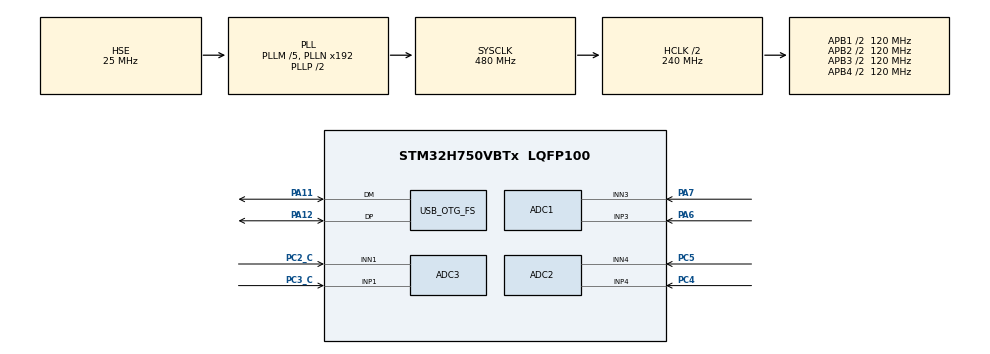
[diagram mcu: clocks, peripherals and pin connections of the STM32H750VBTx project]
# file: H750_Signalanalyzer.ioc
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ADC1.Channel-0\#ChannelRegularConversion=ADC_CHANNEL_3
ADC1.ClockPrescaler=ADC_CLOCK_ASYNC_DIV2
ADC1.NbrOfConversionFlag=1
ADC1.OffsetNumber-0\#ChannelRegularConversion=ADC_OFFSET_NONE
ADC1.OffsetSignedSaturation-0\#ChannelRegularConversion=DISABLE
ADC1.Rank-0\#ChannelRegularConversion=1
ADC1.SamplingTime-0\#ChannelRegularConversion=ADC_SAMPLETIME_1CYCLE_5
ADC1.SingleDiff-0\#ChannelRegularConversion=ADC_DIFFERENTIAL_ENDED
ADC1.master=1
ADC2.Channel-2\#ChannelRegularConversion=ADC_CHANNEL_4
ADC2.ClockPrescaler=ADC_CLOCK_ASYNC_DIV2
ADC2.NbrOfConversionFlag=1
ADC2.OffsetNumber-2\#ChannelRegularConversion=ADC_OFFSET_NONE
ADC2.OffsetSignedSaturation-2\#ChannelRegularConversion=DISABLE
ADC2.Rank-2\#ChannelRegularConversion=1
ADC2.SamplingTime-2\#ChannelRegularConversion=ADC_SAMPLETIME_1CYCLE_5
ADC2.SingleDiff-2\#ChannelRegularConversion=ADC_DIFFERENTIAL_ENDED
ADC3.Channel-0\#ChannelRegularConversion=ADC_CHANNEL_1
ADC3.ClockPrescaler=ADC_CLOCK_ASYNC_DIV2
ADC3.NbrOfConversionFlag=1
ADC3.OffsetNumber-0\#ChannelRegularConversion=ADC_OFFSET_NONE
ADC3.OffsetSignedSaturation-0\#ChannelRegularConversion=DISABLE
ADC3.Rank-0\#ChannelRegularConversion=1
ADC3.SamplingTime-0\#ChannelRegularConversion=ADC_SAMPLETIME_1CYCLE_5
ADC3.SingleDiff-0\#ChannelRegularConversion=ADC_DIFFERENTIAL_ENDED
Mcu.Family=STM32H7
Mcu.Name=STM32H750VBTx
Mcu.Package=LQFP100
NVIC.OTG_FS_IRQn=true\:0\:0\:false\:false\:true\:false\:true\:true
NVIC.PriorityGroup=NVIC_PRIORITYGROUP_4
PA11.Mode=Device_Only
PA11.Signal=USB_OTG_FS_DM
PA12.Mode=Device_Only
PA12.Signal=USB_OTG_FS_DP
PA6.Signal=ADCx_INP3
PA7.Signal=ADCx_INN3
PC14-OSC32_IN\ (OSC32_IN).Mode=LSE-External-Oscillator
PC14-OSC32_IN\ (OSC32_IN).Signal=RCC_OSC32_IN
PC15-OSC32_OUT\ (OSC32_OUT).Mode=LSE-External-Oscillator
PC15-OSC32_OUT\ (OSC32_OUT).Signal=RCC_OSC32_OUT
PC2_C.Mode=IN1-Differential
PC2_C.Signal=ADC3_INN1
PC3_C.Mode=IN1-Differential
PC3_C.Signal=ADC3_INP1
PC4.Signal=ADCx_INP4
PC5.Signal=ADCx_INN4
PH0-OSC_IN\ (PH0).Mode=HSE-External-Oscillator
PH0-OSC_IN\ (PH0).Signal=RCC_OSC_IN
PH1-OSC_OUT\ (PH1).Mode=HSE-External-Oscillator
PH1-OSC_OUT\ (PH1).Signal=RCC_OSC_OUT
ProjectManager.HeapSize=0x200
ProjectManager.StackSize=0x400
ProjectManager.TargetToolchain=STM32CubeIDE
RCC.ADCFreq_Value=75000000
RCC.APB1Freq_Value=120000000
RCC.APB2Freq_Value=120000000
RCC.APB3Freq_Value=120000000
RCC.APB4Freq_Value=120000000
RCC.CortexFreq_Value=480000000
RCC.D1PPRE=RCC_APB3_DIV2
RCC.D2PPRE1=RCC_APB1_DIV2
RCC.D2PPRE2=RCC_APB2_DIV2
RCC.D3PPRE=RCC_APB4_DIV2
RCC.DIVM1=5
RCC.DIVM2=2
RCC.DIVN1=192
RCC.DIVN2=12
RCC.DIVQ1=15
RCC.HCLKFreq_Value=240000000
RCC.HPRE=RCC_HCLK_DIV2
RCC.PLL2FRACN=0
RCC.PLLFRACN=0
RCC.PLLSourceVirtual=RCC_PLLSOURCE_HSE
RCC.SYSCLKFreq_VALUE=480000000
RCC.SYSCLKSource=RCC_SYSCLKSOURCE_PLLCLK
RCC.USBFreq_Value=64000000
SH.ADCx_INN3.0=ADC1_INN3,IN3-Differential
SH.ADCx_INN4.0=ADC2_INN4,IN4-Differential
SH.ADCx_INP3.0=ADC1_INP3,IN3-Differential
SH.ADCx_INP4.0=ADC2_INP4,IN4-Differential
USB_DEVICE.CLASS_NAME_FS=CDC
USB_DEVICE.VirtualMode-CDC_FS=Cdc
USB_DEVICE.VirtualModeFS=Cdc_FS
USB_OTG_FS.VirtualMode=Device_Only
VP_USB_DEVICE_VS_USB_DEVICE_CDC_FS.Mode=CDC_FS
board=custom

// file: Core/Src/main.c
/* USER CODE BEGIN Header */
/**
  ******************************************************************************
  * @file           : main.c
  * @brief          : Main program body
  ******************************************************************************
  * @attention
  *
  * Copyright (c) 2023 STMicroelectronics.
  * All rights reserved.
  *
  * This software is licensed under terms that can be found in the LICENSE file
  * in the root directory of this software component.
  * If no LICENSE file comes with this software, it is provided AS-IS.
  *
  ******************************************************************************
  */
/* USER CODE END Header */
#include "main.h"
#include "usb_device.h"

/* USER CODE BEGIN Includes */

#include "adc.h"
#include "signalanalyzer.h"
#include "cubemonitor.h"
#include "filters.h"

/* USER CODE END Includes */

ADC_HandleTypeDef hadc1;
ADC_HandleTypeDef hadc2;
ADC_HandleTypeDef hadc3;

void SystemClock_Config(void);
void PeriphCommonClock_Config(void);
static void MX_GPIO_Init(void);
static void MX_ADC1_Init(void);
static void MX_ADC2_Init(void);
static void MX_ADC3_Init(void);

int main(void)
{
  /* USER CODE BEGIN 1 */

#if DEBUGTESTS==0
#if ADCDEBUG==0
	adc_Init();
#endif

#if SIGANDEBUG==0
	sigAn_Init();
#endif

#if CUBEMDEBUG==0
	CubeM_Init(50);
#endif
#endif

  /* USER CODE END 1 */

  /* MCU Configuration--------------------------------------------------------*/

  /* Reset of all peripherals, Initializes the Flash interface and the Systick. */
  HAL_Init();

  /* Configure the system clock */
  SystemClock_Config();

/* Configure the peripherals common clocks */
  PeriphCommonClock_Config();

  /* Initialize all configured peripherals */
  MX_GPIO_Init();
  MX_ADC1_Init();
  MX_ADC2_Init();
  MX_ADC3_Init();
  MX_USB_DEVICE_Init();
  /* USER CODE BEGIN 2 */

#if DEBUGTESTS==1
#if ADCDEBUG==1
  adc_runDebugTests();
#endif

#if SIGANDEBUG==1
	sigAn_Debug();
#endif

#if CUBEMDEBUG==1
  CubeM_runDebugTests();
#endif

#if FILTERDEBUGTESTS==1
  testFilters(100);
#endif
#endif

  /* USER CODE END 2 */

  /* Infinite loop */
  while (1)
  {

  }
}

void SystemClock_Config(void)
{
  RCC_OscInitTypeDef RCC_OscInitStruct = {0};
  RCC_ClkInitTypeDef RCC_ClkInitStruct = {0};

  /** Supply configuration update enable
  */
  HAL_PWREx_ConfigSupply(PWR_LDO_SUPPLY);

  /** Configure the main internal regulator output voltage
  */
  __HAL_PWR_VOLTAGESCALING_CONFIG(PWR_REGULATOR_VOLTAGE_SCALE1);

  while(!__HAL_PWR_GET_FLAG(PWR_FLAG_VOSRDY)) {}

  __HAL_RCC_SYSCFG_CLK_ENABLE();
  __HAL_PWR_VOLTAGESCALING_CONFIG(PWR_REGULATOR_VOLTAGE_SCALE0);

  while(!__HAL_PWR_GET_FLAG(PWR_FLAG_VOSRDY)) {}

  /** Initializes the RCC Oscillators according to the specified parameters
  * in the RCC_OscInitTypeDef structure.
  */
  RCC_OscInitStruct.OscillatorType = RCC_OSCILLATORTYPE_HSE;
  RCC_OscInitStruct.HSEState = RCC_HSE_ON;
  RCC_OscInitStruct.PLL.PLLState = RCC_PLL_ON;
  RCC_OscInitStruct.PLL.PLLSource = RCC_PLLSOURCE_HSE;
  RCC_OscInitStruct.PLL.PLLM = 5;
  RCC_OscInitStruct.PLL.PLLN = 192;
  RCC_OscInitStruct.PLL.PLLP = 2;
  RCC_OscInitStruct.PLL.PLLQ = 15;
  RCC_OscInitStruct.PLL.PLLR = 2;
  RCC_OscInitStruct.PLL.PLLRGE = RCC_PLL1VCIRANGE_2;
  RCC_OscInitStruct.PLL.PLLVCOSEL = RCC_PLL1VCOWIDE;
  RCC_OscInitStruct.PLL.PLLFRACN = 0;
  if (HAL_RCC_OscConfig(&RCC_OscInitStruct) != HAL_OK)
  {
    Error_Handler();
  }

  /** Initializes the CPU, AHB and APB buses clocks
  */
  RCC_ClkInitStruct.ClockType = RCC_CLOCKTYPE_HCLK|RCC_CLOCKTYPE_SYSCLK
                              |RCC_CLOCKTYPE_PCLK1|RCC_CLOCKTYPE_PCLK2
                              |RCC_CLOCKTYPE_D3PCLK1|RCC_CLOCKTYPE_D1PCLK1;
  RCC_ClkInitStruct.SYSCLKSource = RCC_SYSCLKSOURCE_PLLCLK;
  RCC_ClkInitStruct.SYSCLKDivider = RCC_SYSCLK_DIV1;
  RCC_ClkInitStruct.AHBCLKDivider = RCC_HCLK_DIV2;
  RCC_ClkInitStruct.APB3CLKDivider = RCC_APB3_DIV2;
  RCC_ClkInitStruct.APB1CLKDivider = RCC_APB1_DIV2;
  RCC_ClkInitStruct.APB2CLKDivider = RCC_APB2_DIV2;
  RCC_ClkInitStruct.APB4CLKDivider = RCC_APB4_DIV2;

  if (HAL_RCC_ClockConfig(&RCC_ClkInitStruct, FLASH_LATENCY_4) != HAL_OK)
  {
    Error_Handler();
  }
}

void PeriphCommonClock_Config(void)
{
  RCC_PeriphCLKInitTypeDef PeriphClkInitStruct = {0};

  /** Initializes the peripherals clock
  */
  PeriphClkInitStruct.PeriphClockSelection = RCC_PERIPHCLK_ADC;
  PeriphClkInitStruct.PLL2.PLL2M = 2;
  PeriphClkInitStruct.PLL2.PLL2N = 12;
  PeriphClkInitStruct.PLL2.PLL2P = 2;
  PeriphClkInitStruct.PLL2.PLL2Q = 2;
  PeriphClkInitStruct.PLL2.PLL2R = 2;
  PeriphClkInitStruct.PLL2.PLL2RGE = RCC_PLL2VCIRANGE_3;
  PeriphClkInitStruct.PLL2.PLL2VCOSEL = RCC_PLL2VCOMEDIUM;
  PeriphClkInitStruct.PLL2.PLL2FRACN = 0;
  PeriphClkInitStruct.AdcClockSelection = RCC_ADCCLKSOURCE_PLL2;
  if (HAL_RCCEx_PeriphCLKConfig(&PeriphClkInitStruct) != HAL_OK)
  {
    Error_Handler();
  }
}

static void MX_ADC1_Init(void)
{

  ADC_MultiModeTypeDef multimode = {0};
  ADC_ChannelConfTypeDef sConfig = {0};

  /** Common config
  */
  hadc1.Instance = ADC1;
  hadc1.Init.ClockPrescaler = ADC_CLOCK_ASYNC_DIV2;
  hadc1.Init.Resolution = ADC_RESOLUTION_16B;
  hadc1.Init.ScanConvMode = ADC_SCAN_DISABLE;
  hadc1.Init.EOCSelection = ADC_EOC_SINGLE_CONV;
  hadc1.Init.LowPowerAutoWait = DISABLE;
  hadc1.Init.ContinuousConvMode = DISABLE;
  hadc1.Init.NbrOfConversion = 1;
  hadc1.Init.DiscontinuousConvMode = DISABLE;
  hadc1.Init.ExternalTrigConv = ADC_SOFTWARE_START;
  hadc1.Init.ExternalTrigConvEdge = ADC_EXTERNALTRIGCONVEDGE_NONE;
  hadc1.Init.ConversionDataManagement = ADC_CONVERSIONDATA_DR;
  hadc1.Init.Overrun = ADC_OVR_DATA_PRESERVED;
  hadc1.Init.LeftBitShift = ADC_LEFTBITSHIFT_NONE;
  hadc1.Init.OversamplingMode = DISABLE;
  if (HAL_ADC_Init(&hadc1) != HAL_OK)
  {
    Error_Handler();
  }

  /** Configure the ADC multi-mode
  */
  multimode.Mode = ADC_MODE_INDEPENDENT;
  if (HAL_ADCEx_MultiModeConfigChannel(&hadc1, &multimode) != HAL_OK)
  {
    Error_Handler();
  }

  /** Configure Regular Channel
  */
  sConfig.Channel = ADC_CHANNEL_3;
  sConfig.Rank = ADC_REGULAR_RANK_1;
  sConfig.SamplingTime = ADC_SAMPLETIME_1CYCLE_5;
  sConfig.SingleDiff = ADC_DIFFERENTIAL_ENDED;
  sConfig.OffsetNumber = ADC_OFFSET_NONE;
  sConfig.Offset = 0;
  sConfig.OffsetSignedSaturation = DISABLE;
  if (HAL_ADC_ConfigChannel(&hadc1, &sConfig) != HAL_OK)
  {
    Error_Handler();
  }

}

static void MX_ADC2_Init(void)
{

  ADC_ChannelConfTypeDef sConfig = {0};

  /** Common config
  */
  hadc2.Instance = ADC2;
  hadc2.Init.ClockPrescaler = ADC_CLOCK_ASYNC_DIV2;
  hadc2.Init.Resolution = ADC_RESOLUTION_16B;
  hadc2.Init.ScanConvMode = ADC_SCAN_DISABLE;
  hadc2.Init.EOCSelection = ADC_EOC_SINGLE_CONV;
  hadc2.Init.LowPowerAutoWait = DISABLE;
  hadc2.Init.ContinuousConvMode = DISABLE;
  hadc2.Init.NbrOfConversion = 1;
  hadc2.Init.DiscontinuousConvMode = DISABLE;
  hadc2.Init.ExternalTrigConv = ADC_SOFTWARE_START;
  hadc2.Init.ExternalTrigConvEdge = ADC_EXTERNALTRIGCONVEDGE_NONE;
  hadc2.Init.ConversionDataManagement = ADC_CONVERSIONDATA_DR;
  hadc2.Init.Overrun = ADC_OVR_DATA_PRESERVED;
  hadc2.Init.LeftBitShift = ADC_LEFTBITSHIFT_NONE;
  hadc2.Init.OversamplingMode = DISABLE;
  if (HAL_ADC_Init(&hadc2) != HAL_OK)
  {
    Error_Handler();
  }

  /** Configure Regular Channel
  */
  sConfig.Channel = ADC_CHANNEL_4;
  sConfig.Rank = ADC_REGULAR_RANK_1;
  sConfig.SamplingTime = ADC_SAMPLETIME_1CYCLE_5;
  sConfig.SingleDiff = ADC_DIFFERENTIAL_ENDED;
  sConfig.OffsetNumber = ADC_OFFSET_NONE;
  sConfig.Offset = 0;
  sConfig.OffsetSignedSaturation = DISABLE;
  if (HAL_ADC_ConfigChannel(&hadc2, &sConfig) != HAL_OK)
  {
    Error_Handler();
  }

}

static void MX_ADC3_Init(void)
{

  ADC_ChannelConfTypeDef sConfig = {0};

  /** Common config
  */
  hadc3.Instance = ADC3;
  hadc3.Init.ClockPrescaler = ADC_CLOCK_ASYNC_DIV2;
  hadc3.Init.Resolution = ADC_RESOLUTION_16B;
  hadc3.Init.ScanConvMode = ADC_SCAN_DISABLE;
  hadc3.Init.EOCSelection = ADC_EOC_SINGLE_CONV;
  hadc3.Init.LowPowerAutoWait = DISABLE;
  hadc3.Init.ContinuousConvMode = DISABLE;
  hadc3.Init.NbrOfConversion = 1;
  hadc3.Init.DiscontinuousConvMode = DISABLE;
  hadc3.Init.ExternalTrigConv = ADC_SOFTWARE_START;
  hadc3.Init.ExternalTrigConvEdge = ADC_EXTERNALTRIGCONVEDGE_NONE;
  hadc3.Init.ConversionDataManagement = ADC_CONVERSIONDATA_DR;
  hadc3.Init.Overrun = ADC_OVR_DATA_PRESERVED;
  hadc3.Init.LeftBitShift = ADC_LEFTBITSHIFT_NONE;
  hadc3.Init.OversamplingMode = DISABLE;
  if (HAL_ADC_Init(&hadc3) != HAL_OK)
  {
    Error_Handler();
  }

  /** Configure Regular Channel
  */
  sConfig.Channel = ADC_CHANNEL_1;
  sConfig.Rank = ADC_REGULAR_RANK_1;
  sConfig.SamplingTime = ADC_SAMPLETIME_1CYCLE_5;
  sConfig.SingleDiff = ADC_DIFFERENTIAL_ENDED;
  sConfig.OffsetNumber = ADC_OFFSET_NONE;
  sConfig.Offset = 0;
  sConfig.OffsetSignedSaturation = DISABLE;
  if (HAL_ADC_ConfigChannel(&hadc3, &sConfig) != HAL_OK)
  {
    Error_Handler();
  }

}

static void MX_GPIO_Init(void)
{

  /* GPIO Ports Clock Enable */
  __HAL_RCC_GPIOC_CLK_ENABLE();
  __HAL_RCC_GPIOH_CLK_ENABLE();
  __HAL_RCC_GPIOA_CLK_ENABLE();

}

void Error_Handler(void)
{
  __disable_irq();
  while (1)
  {
  }
}
